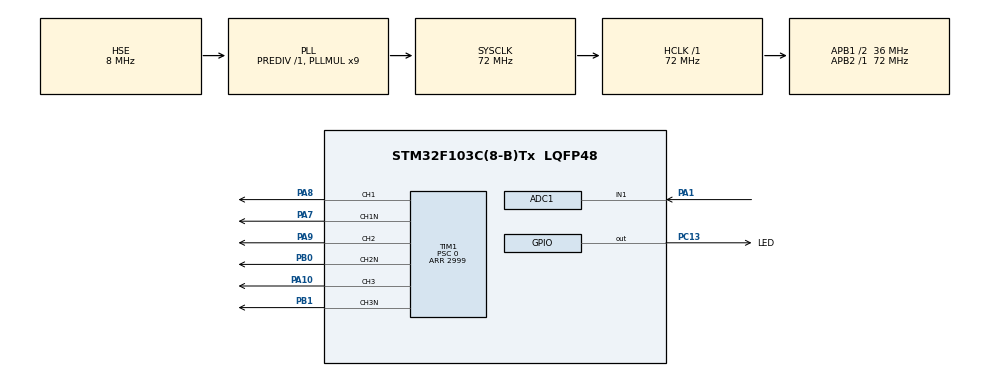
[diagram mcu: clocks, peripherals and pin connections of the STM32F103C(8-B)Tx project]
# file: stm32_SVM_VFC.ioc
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ADC1.Channel-0\#ChannelRegularConversion=ADC_CHANNEL_1
ADC1.ExternalTrigConv=ADC_EXTERNALTRIGCONV_T3_TRGO
ADC1.NbrOfConversionFlag=1
ADC1.Rank-0\#ChannelRegularConversion=1
ADC1.SamplingTime-0\#ChannelRegularConversion=ADC_SAMPLETIME_1CYCLE_5
ADC1.master=1
Mcu.Family=STM32F1
Mcu.Name=STM32F103C(8-B)Tx
Mcu.Package=LQFP48
NVIC.ADC1_2_IRQn=true\:0\:0\:false\:false\:true\:true\:true\:true
NVIC.PriorityGroup=NVIC_PRIORITYGROUP_4
NVIC.TIM1_CC_IRQn=true\:0\:0\:false\:false\:true\:true\:true\:true
NVIC.TIM1_TRG_COM_IRQn=true\:0\:0\:false\:false\:true\:true\:true\:true
NVIC.TIM1_UP_IRQn=true\:0\:0\:false\:false\:true\:true\:true\:true
NVIC.TIM2_IRQn=true\:0\:0\:false\:false\:true\:true\:true\:true
NVIC.TIM3_IRQn=true\:0\:0\:false\:false\:true\:true\:true\:true
PA1.Signal=ADCx_IN1
PA10.Signal=S_TIM1_CH3
PA7.Mode=PWM Generation1 CH1 CH1N
PA7.Signal=TIM1_CH1N
PA8.Signal=S_TIM1_CH1
PA9.Signal=S_TIM1_CH2
PB0.Mode=PWM Generation2 CH2 CH2N
PB0.Signal=TIM1_CH2N
PB1.Mode=PWM Generation3 CH3 CH3N
PB1.Signal=TIM1_CH3N
PC13-TAMPER-RTC.GPIO_Label=LED
PC13-TAMPER-RTC.GPIO_Speed=GPIO_SPEED_FREQ_HIGH
PC13-TAMPER-RTC.Signal=GPIO_Output
PD0-OSC_IN.Mode=HSE-External-Oscillator
PD0-OSC_IN.Signal=RCC_OSC_IN
PD1-OSC_OUT.Mode=HSE-External-Oscillator
PD1-OSC_OUT.Signal=RCC_OSC_OUT
ProjectManager.HeapSize=0x200
ProjectManager.StackSize=0x400
ProjectManager.TargetToolchain=STM32CubeIDE
RCC.ADCPresc=RCC_ADCPCLK2_DIV6
RCC.AHBFreq_Value=72000000
RCC.APB1CLKDivider=RCC_HCLK_DIV2
RCC.APB1Freq_Value=36000000
RCC.APB1TimFreq_Value=72000000
RCC.APB2Freq_Value=72000000
RCC.APB2TimFreq_Value=72000000
RCC.HCLKFreq_Value=72000000
RCC.PLLMUL=RCC_PLL_MUL9
RCC.PLLSourceVirtual=RCC_PLLSOURCE_HSE
RCC.SYSCLKFreq_VALUE=72000000
RCC.SYSCLKSource=RCC_SYSCLKSOURCE_PLLCLK
RCC.USBFreq_Value=72000000
SH.ADCx_IN1.0=ADC1_IN1,IN1
SH.S_TIM1_CH1.0=TIM1_CH1,PWM Generation1 CH1 CH1N
SH.S_TIM1_CH2.0=TIM1_CH2,PWM Generation2 CH2 CH2N
SH.S_TIM1_CH3.0=TIM1_CH3,PWM Generation3 CH3 CH3N
TIM1.Channel-PWM\ Generation1\ CH1\ CH1N=TIM_CHANNEL_1
TIM1.Channel-PWM\ Generation2\ CH2\ CH2N=TIM_CHANNEL_2
TIM1.Channel-PWM\ Generation3\ CH3\ CH3N=TIM_CHANNEL_3
TIM1.CounterMode=TIM_COUNTERMODE_CENTERALIGNED3
TIM1.DeadTime=172
TIM1.Period=2999
TIM1.Prescaler=0
TIM1.TIM_MasterOutputTrigger=TIM_TRGO_ENABLE
TIM2.CounterMode=TIM_COUNTERMODE_CENTERALIGNED3
TIM2.Period=2999
TIM2.Prescaler=0
TIM2.TIM_MasterOutputTrigger=TIM_TRGO_UPDATE
TIM3.CounterMode=TIM_COUNTERMODE_CENTERALIGNED3
TIM3.Period=23999
TIM3.Prescaler=1
TIM3.TIM_MasterOutputTrigger=TIM_TRGO_UPDATE
VP_TIM1_VS_ClockSourceINT.Mode=Internal
VP_TIM2_VS_ClockSourceINT.Mode=Internal
VP_TIM2_VS_ClockSourceITR.Mode=TriggerSource_ITR0
VP_TIM2_VS_ControllerModeTrigger.Mode=Trigger Mode
VP_TIM3_VS_ClockSourceINT.Mode=Internal
VP_TIM3_VS_ClockSourceITR.Mode=TriggerSource_ITR0
VP_TIM3_VS_ControllerModeTrigger.Mode=Trigger Mode
board=custom

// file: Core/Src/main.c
/* USER CODE BEGIN Header */
/**
  ******************************************************************************
  * @file           : main.c
  * @brief          : Main program body
  ******************************************************************************
  * @attention
  *
  * Copyright (c) 2024 STMicroelectronics.
  * All rights reserved.
  *
  * This software is licensed under terms that can be found in the LICENSE file
  * in the root directory of this software component.
  * If no LICENSE file comes with this software, it is provided AS-IS.
  *
  ******************************************************************************
  */
/* USER CODE END Header */
#include "main.h"

/* USER CODE BEGIN Includes */
#include "math.h"
#include "svm_sine_table_12k.h"
/* USER CODE END Includes */

/* USER CODE BEGIN PD */
#define PI 3.14159265358979323846f

#define PERIOD 2999

// Switching Frequency
#define FSW 12000.00f

// Values for Reference Sine Wave
#define FREQ0 5
#define N0 4800

#define FMAX 30.0f
#define FNOM 60.0f

#define VNOM 187.794214f
#define VMAX (FMAX/FNOM)*VNOM
#define VDC  206.573634f

#define MMAX 1.73205081f*VMAX/VDC
#define MMIN FNOM/FMAX*MMAX*0.05f

// multiplicar por 20
#define COUNTSPERADCINC FSW*FMAX/8192

/* USER CODE END PD */

ADC_HandleTypeDef hadc1;

TIM_HandleTypeDef htim1;
TIM_HandleTypeDef htim2;
TIM_HandleTypeDef htim3;

/* USER CODE BEGIN PV */
uint32_t adc_val_follower = 0;
uint32_t adc_val = 0;

//uint16_t sinValues[2000]; // Size depends on frequency
uint16_t da = 0;
uint16_t db = 0;
uint16_t d0 = 0;

uint32_t counter_sec = 0;
uint16_t sector = 0;

uint32_t counter0 = 0;

uint16_t counterRateLimiter = 0;

uint8_t readyToUpdate = 0;

uint32_t N;
uint32_t N_old;

float freq = 1; // Between 375 and 10 Hz

float m = 1;
/* USER CODE END PV */

void SystemClock_Config(void);
static void MX_GPIO_Init(void);
static void MX_TIM1_Init(void);
static void MX_TIM2_Init(void);
static void MX_ADC1_Init(void);
static void MX_TIM3_Init(void);
/* USER CODE BEGIN PFP */
void sineValuesGeneration(void);
void updateValues(void);
/* USER CODE END PFP */

int main(void)
{

  /* MCU Configuration--------------------------------------------------------*/

  /* Reset of all peripherals, Initializes the Flash interface and the Systick. */
  HAL_Init();

  /* Configure the system clock */
  SystemClock_Config();

  /* Initialize all configured peripherals */
  MX_GPIO_Init();
  MX_TIM1_Init();
  MX_TIM2_Init();
  MX_ADC1_Init();
  MX_TIM3_Init();
  /* USER CODE BEGIN 2 */

  // Calibrate ADC for better accuracy and start it w/ interrupt
  if(HAL_ADCEx_Calibration_Start(&hadc1) != HAL_OK) Error_Handler();
  if(HAL_ADC_Start_IT(&hadc1) != HAL_OK) Error_Handler();

  //Start PWM generation
  if(HAL_TIM_Base_Start_IT(&htim3) != HAL_OK) Error_Handler();
  if(HAL_TIM_Base_Start_IT(&htim2) != HAL_OK) Error_Handler();

  sineValuesGeneration();

  HAL_TIM_PWM_Start(&htim1, TIM_CHANNEL_1);
  HAL_TIMEx_PWMN_Start(&htim1, TIM_CHANNEL_1);

  HAL_TIM_PWM_Start(&htim1, TIM_CHANNEL_2);
  HAL_TIMEx_PWMN_Start(&htim1, TIM_CHANNEL_2);

  HAL_TIM_PWM_Start(&htim1, TIM_CHANNEL_3);
  HAL_TIMEx_PWMN_Start(&htim1, TIM_CHANNEL_3);
  /* USER CODE END 2 */

  /* Infinite loop */
  /* USER CODE BEGIN WHILE */
  while (1)
  {
	  if(readyToUpdate){
		  updateValues();
		  readyToUpdate = 0;
	  }
    /* USER CODE END WHILE */

  }
}

void SystemClock_Config(void)
{
  RCC_OscInitTypeDef RCC_OscInitStruct = {0};
  RCC_ClkInitTypeDef RCC_ClkInitStruct = {0};
  RCC_PeriphCLKInitTypeDef PeriphClkInit = {0};

  /** Initializes the RCC Oscillators according to the specified parameters
  * in the RCC_OscInitTypeDef structure.
  */
  RCC_OscInitStruct.OscillatorType = RCC_OSCILLATORTYPE_HSE;
  RCC_OscInitStruct.HSEState = RCC_HSE_ON;
  RCC_OscInitStruct.HSEPredivValue = RCC_HSE_PREDIV_DIV1;
  RCC_OscInitStruct.HSIState = RCC_HSI_ON;
  RCC_OscInitStruct.PLL.PLLState = RCC_PLL_ON;
  RCC_OscInitStruct.PLL.PLLSource = RCC_PLLSOURCE_HSE;
  RCC_OscInitStruct.PLL.PLLMUL = RCC_PLL_MUL9;
  if (HAL_RCC_OscConfig(&RCC_OscInitStruct) != HAL_OK)
  {
    Error_Handler();
  }

  /** Initializes the CPU, AHB and APB buses clocks
  */
  RCC_ClkInitStruct.ClockType = RCC_CLOCKTYPE_HCLK|RCC_CLOCKTYPE_SYSCLK
                              |RCC_CLOCKTYPE_PCLK1|RCC_CLOCKTYPE_PCLK2;
  RCC_ClkInitStruct.SYSCLKSource = RCC_SYSCLKSOURCE_PLLCLK;
  RCC_ClkInitStruct.AHBCLKDivider = RCC_SYSCLK_DIV1;
  RCC_ClkInitStruct.APB1CLKDivider = RCC_HCLK_DIV2;
  RCC_ClkInitStruct.APB2CLKDivider = RCC_HCLK_DIV1;

  if (HAL_RCC_ClockConfig(&RCC_ClkInitStruct, FLASH_LATENCY_2) != HAL_OK)
  {
    Error_Handler();
  }
  PeriphClkInit.PeriphClockSelection = RCC_PERIPHCLK_ADC;
  PeriphClkInit.AdcClockSelection = RCC_ADCPCLK2_DIV6;
  if (HAL_RCCEx_PeriphCLKConfig(&PeriphClkInit) != HAL_OK)
  {
    Error_Handler();
  }
}

static void MX_ADC1_Init(void)
{

  ADC_ChannelConfTypeDef sConfig = {0};

  /** Common config
  */
  hadc1.Instance = ADC1;
  hadc1.Init.ScanConvMode = ADC_SCAN_DISABLE;
  hadc1.Init.ContinuousConvMode = DISABLE;
  hadc1.Init.DiscontinuousConvMode = DISABLE;
  hadc1.Init.ExternalTrigConv = ADC_EXTERNALTRIGCONV_T3_TRGO;
  hadc1.Init.DataAlign = ADC_DATAALIGN_RIGHT;
  hadc1.Init.NbrOfConversion = 1;
  if (HAL_ADC_Init(&hadc1) != HAL_OK)
  {
    Error_Handler();
  }

  /** Configure Regular Channel
  */
  sConfig.Channel = ADC_CHANNEL_1;
  sConfig.Rank = ADC_REGULAR_RANK_1;
  sConfig.SamplingTime = ADC_SAMPLETIME_1CYCLE_5;
  if (HAL_ADC_ConfigChannel(&hadc1, &sConfig) != HAL_OK)
  {
    Error_Handler();
  }

}

static void MX_TIM1_Init(void)
{

  TIM_ClockConfigTypeDef sClockSourceConfig = {0};
  TIM_MasterConfigTypeDef sMasterConfig = {0};
  TIM_OC_InitTypeDef sConfigOC = {0};
  TIM_BreakDeadTimeConfigTypeDef sBreakDeadTimeConfig = {0};

  htim1.Instance = TIM1;
  htim1.Init.Prescaler = 0;
  htim1.Init.CounterMode = TIM_COUNTERMODE_CENTERALIGNED3;
  htim1.Init.Period = 2999;
  htim1.Init.ClockDivision = TIM_CLOCKDIVISION_DIV1;
  htim1.Init.RepetitionCounter = 0;
  htim1.Init.AutoReloadPreload = TIM_AUTORELOAD_PRELOAD_DISABLE;
  if (HAL_TIM_Base_Init(&htim1) != HAL_OK)
  {
    Error_Handler();
  }
  sClockSourceConfig.ClockSource = TIM_CLOCKSOURCE_INTERNAL;
  if (HAL_TIM_ConfigClockSource(&htim1, &sClockSourceConfig) != HAL_OK)
  {
    Error_Handler();
  }
  if (HAL_TIM_PWM_Init(&htim1) != HAL_OK)
  {
    Error_Handler();
  }
  sMasterConfig.MasterOutputTrigger = TIM_TRGO_ENABLE;
  sMasterConfig.MasterSlaveMode = TIM_MASTERSLAVEMODE_DISABLE;
  if (HAL_TIMEx_MasterConfigSynchronization(&htim1, &sMasterConfig) != HAL_OK)
  {
    Error_Handler();
  }
  sConfigOC.OCMode = TIM_OCMODE_PWM1;
  sConfigOC.Pulse = 0;
  sConfigOC.OCPolarity = TIM_OCPOLARITY_HIGH;
  sConfigOC.OCNPolarity = TIM_OCNPOLARITY_HIGH;
  sConfigOC.OCFastMode = TIM_OCFAST_DISABLE;
  sConfigOC.OCIdleState = TIM_OCIDLESTATE_RESET;
  sConfigOC.OCNIdleState = TIM_OCNIDLESTATE_RESET;
  if (HAL_TIM_PWM_ConfigChannel(&htim1, &sConfigOC, TIM_CHANNEL_1) != HAL_OK)
  {
    Error_Handler();
  }
  if (HAL_TIM_PWM_ConfigChannel(&htim1, &sConfigOC, TIM_CHANNEL_2) != HAL_OK)
  {
    Error_Handler();
  }
  if (HAL_TIM_PWM_ConfigChannel(&htim1, &sConfigOC, TIM_CHANNEL_3) != HAL_OK)
  {
    Error_Handler();
  }
  sBreakDeadTimeConfig.OffStateRunMode = TIM_OSSR_DISABLE;
  sBreakDeadTimeConfig.OffStateIDLEMode = TIM_OSSI_DISABLE;
  sBreakDeadTimeConfig.LockLevel = TIM_LOCKLEVEL_OFF;
  sBreakDeadTimeConfig.DeadTime = 172;
  sBreakDeadTimeConfig.BreakState = TIM_BREAK_DISABLE;
  sBreakDeadTimeConfig.BreakPolarity = TIM_BREAKPOLARITY_HIGH;
  sBreakDeadTimeConfig.AutomaticOutput = TIM_AUTOMATICOUTPUT_DISABLE;
  if (HAL_TIMEx_ConfigBreakDeadTime(&htim1, &sBreakDeadTimeConfig) != HAL_OK)
  {
    Error_Handler();
  }
  HAL_TIM_MspPostInit(&htim1);

}

static void MX_TIM2_Init(void)
{

  TIM_ClockConfigTypeDef sClockSourceConfig = {0};
  TIM_SlaveConfigTypeDef sSlaveConfig = {0};
  TIM_MasterConfigTypeDef sMasterConfig = {0};

  htim2.Instance = TIM2;
  htim2.Init.Prescaler = 0;
  htim2.Init.CounterMode = TIM_COUNTERMODE_CENTERALIGNED3;
  htim2.Init.Period = 2999;
  htim2.Init.ClockDivision = TIM_CLOCKDIVISION_DIV1;
  htim2.Init.AutoReloadPreload = TIM_AUTORELOAD_PRELOAD_DISABLE;
  if (HAL_TIM_Base_Init(&htim2) != HAL_OK)
  {
    Error_Handler();
  }
  sClockSourceConfig.ClockSource = TIM_CLOCKSOURCE_INTERNAL;
  if (HAL_TIM_ConfigClockSource(&htim2, &sClockSourceConfig) != HAL_OK)
  {
    Error_Handler();
  }
  sSlaveConfig.SlaveMode = TIM_SLAVEMODE_TRIGGER;
  sSlaveConfig.InputTrigger = TIM_TS_ITR0;
  if (HAL_TIM_SlaveConfigSynchro(&htim2, &sSlaveConfig) != HAL_OK)
  {
    Error_Handler();
  }
  sMasterConfig.MasterOutputTrigger = TIM_TRGO_UPDATE;
  sMasterConfig.MasterSlaveMode = TIM_MASTERSLAVEMODE_DISABLE;
  if (HAL_TIMEx_MasterConfigSynchronization(&htim2, &sMasterConfig) != HAL_OK)
  {
    Error_Handler();
  }

}

static void MX_TIM3_Init(void)
{

  TIM_ClockConfigTypeDef sClockSourceConfig = {0};
  TIM_SlaveConfigTypeDef sSlaveConfig = {0};
  TIM_MasterConfigTypeDef sMasterConfig = {0};

  htim3.Instance = TIM3;
  htim3.Init.Prescaler = 1;
  htim3.Init.CounterMode = TIM_COUNTERMODE_CENTERALIGNED3;
  htim3.Init.Period = 23999;
  htim3.Init.ClockDivision = TIM_CLOCKDIVISION_DIV1;
  htim3.Init.AutoReloadPreload = TIM_AUTORELOAD_PRELOAD_DISABLE;
  if (HAL_TIM_Base_Init(&htim3) != HAL_OK)
  {
    Error_Handler();
  }
  sClockSourceConfig.ClockSource = TIM_CLOCKSOURCE_INTERNAL;
  if (HAL_TIM_ConfigClockSource(&htim3, &sClockSourceConfig) != HAL_OK)
  {
    Error_Handler();
  }
  sSlaveConfig.SlaveMode = TIM_SLAVEMODE_TRIGGER;
  sSlaveConfig.InputTrigger = TIM_TS_ITR0;
  if (HAL_TIM_SlaveConfigSynchro(&htim3, &sSlaveConfig) != HAL_OK)
  {
    Error_Handler();
  }
  sMasterConfig.MasterOutputTrigger = TIM_TRGO_UPDATE;
  sMasterConfig.MasterSlaveMode = TIM_MASTERSLAVEMODE_DISABLE;
  if (HAL_TIMEx_MasterConfigSynchronization(&htim3, &sMasterConfig) != HAL_OK)
  {
    Error_Handler();
  }

}

static void MX_GPIO_Init(void)
{
  GPIO_InitTypeDef GPIO_InitStruct = {0};

  /* GPIO Ports Clock Enable */
  __HAL_RCC_GPIOC_CLK_ENABLE();
  __HAL_RCC_GPIOD_CLK_ENABLE();
  __HAL_RCC_GPIOA_CLK_ENABLE();
  __HAL_RCC_GPIOB_CLK_ENABLE();

  /*Configure GPIO pin Output Level */
  HAL_GPIO_WritePin(LED_GPIO_Port, LED_Pin, GPIO_PIN_RESET);

  /*Configure GPIO pin : LED_Pin */
  GPIO_InitStruct.Pin = LED_Pin;
  GPIO_InitStruct.Mode = GPIO_MODE_OUTPUT_PP;
  GPIO_InitStruct.Pull = GPIO_NOPULL;
  GPIO_InitStruct.Speed = GPIO_SPEED_FREQ_HIGH;
  HAL_GPIO_Init(LED_GPIO_Port, &GPIO_InitStruct);

}

/* USER CODE BEGIN 4 */

void updateValues(void){
	m = (float)adc_val_follower/4096.0f;           // Modulation index (0 to 1)
	if(m < MMIN) m = MMIN;               // Limit minimum MI to 15%

	if (adc_val_follower < 1) adc_val_follower = 1;

	freq = (float)adc_val_follower*(FMAX/4096.0f);
	N  = floor((2.0f*FSW)/freq);

	counter_sec = (N*counter_sec)/N_old;
	N_old = N;
}

void HAL_ADC_ConvCpltCallback(ADC_HandleTypeDef *hadc) {
	// IMPORTANT: Check time between executions

	adc_val = HAL_ADC_GetValue(&hadc1); // Read ADC value

//	if(adc_val_old != adc_val) {
//
//		m = (double)adc_val/MAXADC;           // Modulation index (0 to 1)
//		if(m < 0.15) m = 0.15;               // Limit minimum MI to 15%
//		//offset = 479 - (uint16_t)(478*m);
//
//		if (adc_val < 45) adc_val = 45;
//
//		freq = ((double)adc_val/MAXADC)*MAXFREQ;
//		N  = floor(2*FSW/freq);
//
//		counter = round((double)N*(double)counter/(double)N_old);
//		N_old = N;
//
//		adc_val_old = adc_val;
//	}

	// Check if ADC reading changed
//	if(adc_val_old != adc_val) {
//		m = (float)adc_val/MAXADC;           // Modulation index (0 to 1)
//		if(m < 0.15) m = 0.15;               // Limit minimum MI to 15%
//
//		if((float)adc_val < ADCMIN){ // To limit distortion and avoid N being too big
//			N  = NMAX;
//		}
//		else{
//			N = floor(ADCTOFREQ/(float)adc_val);
//		}
//
//		counter = round((double)N*(double)counter/(double)N_old);
//		N_old = N;
//
//		adc_val_old = adc_val; //freq = adc_val/MAXADC*MAXFREQ
//	}
}

/**
  * @brief  This function pre-generates the sine values for modulator signal.
  * @retval None
  */
void sineValuesGeneration(void){
	// Executed only one time at the start of the program

	// Number of samples for one period
	N  = floor(2*FSW/freq);  // For generated frequency (f).

	// Generation of sinusoidal reference wave
//	for(uint16_t i = 0; i < N0/2; i++){
//		//sinValues[i] = round(959.00*(0.5*m*sin(i*(double)2*PI/(double)N0)+0.5));
//		sinValues[i] = round(5999.00*(0.5*sin(i*2.00*PI/N0)+0.5));
//	}
}

void HAL_TIM_PeriodElapsedCallback(TIM_HandleTypeDef *htim){

	if (htim->Instance == htim2.Instance) {
		//Time between executions: 1/(2*FSW) = 13 us
		if(counterRateLimiter <= COUNTSPERADCINC){counterRateLimiter++;}
		else{
			if(adc_val_follower != adc_val) {
				if(adc_val > adc_val_follower) adc_val_follower++;
				else if(adc_val < adc_val_follower) adc_val_follower--;
				readyToUpdate = 1;
				counterRateLimiter = 0;
			}
		}

		// Conditioning of counter
		counter0 = round((float)(N0*counter_sec)/(float)N);

		// Periods
		da = (uint16_t)(m*sinValues[N0/6 - counter0 - 1]);
		db = (uint16_t)(m*sinValues[counter0]);
		d0 = PERIOD - da - db;

		// Periods
		switch(sector){
			case 0:
				TIM1->CCR1 = da + db + d0/2;
				TIM1->CCR2 = db + d0/2;
				TIM1->CCR3 = d0/2;
				break;
			case 1:
				TIM1->CCR1 = da + d0/2;
				TIM1->CCR2 = db + da + d0/2;
				TIM1->CCR3 = d0/2;
				break;
			case 2:
				TIM1->CCR1 = d0/2;
				TIM1->CCR2 = da + db + d0/2;
				TIM1->CCR3 = db + d0/2;
				break;
			case 3:
				TIM1->CCR1 = d0/2;
				TIM1->CCR2 = da + d0/2;
				TIM1->CCR3 = db + da + d0/2;
				break;
			case 4:
				TIM1->CCR1 = db + d0/2;
				TIM1->CCR2 = d0/2;
				TIM1->CCR3 = da + db + d0/2;
				break;
			case 5:
				TIM1->CCR1 = db + da + d0/2;
				TIM1->CCR2 = d0/2;
				TIM1->CCR3 = da + d0/2;
				break;
		}

		counter_sec++;
		if(counter_sec >= N/6){
			sector++;
			counter_sec = 0;
		}
		if(sector > 5){
			sector = 0;
		}
	}
}
/* USER CODE END 4 */

void Error_Handler(void)
{
  __disable_irq();
  while (1)
  {
  }
}
